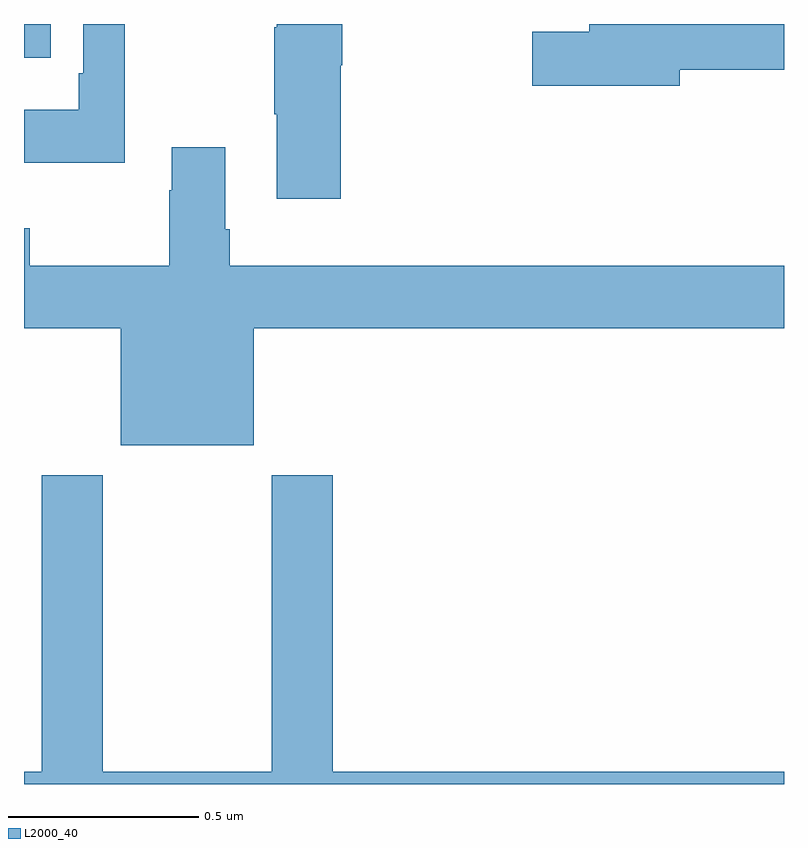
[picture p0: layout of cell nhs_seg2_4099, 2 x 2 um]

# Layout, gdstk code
import gdstk
lib = gdstk.Library(unit=1e-6, precision=1e-09)
def R(c, l, rs):  # rectangles x0, y0, x1, y1
    for r in rs: c.add(gdstk.rectangle(r[:2], r[2:], *l))
def P(c, l, *ps):  # polygons
    for p in ps: c.add(gdstk.Polygon(p, *l))
L2000_40 = (2000, 40)

nhs_seg2_4099 = lib.new_cell('nhs_seg2_4099')
R(nhs_seg2_4099, L2000_40, [(162,617.711,162.071,617.8)])
P(nhs_seg2_4099, L2000_40, [(163.726,617.68),(164,617.68),(164,617.8),(163.487,617.8),(163.487,617.78),(163.338,617.78),(163.338,617.638),(163.726,617.638)],
  [(162.833,617.691),(162.838,617.691),(162.838,617.8),(162.665,617.8),(162.665,617.791),(162.658,617.791),(162.658,617.563),(162.665,617.563),(162.665,617.34),(162.833,617.34)],
  [(162.265,617.8),(162.156,617.8),(162.156,617.671),(162.144,617.671),(162.144,617.575),(162,617.575),(162,617.435),(162.265,617.435)],
  [(162.542,617.26),(162.529,617.26),(162.529,617.476),(162.389,617.476),(162.389,617.363),(162.382,617.363),(162.382,617.164),(162.015,617.164),(162.015,617.263),(162,617.263),(162,617),(162.254,617),(162.254,616.691),(162.604,616.691),(162.604,617),(164,617),(164,617.164),(162.542,617.164)],
  [(164,615.832),(162.812,615.832),(162.812,616.612),(162.652,616.612),(162.652,615.832),(162.207,615.832),(162.207,616.612),(162.047,616.612),(162.047,615.832),(162,615.832),(162,615.8),(164,615.8)])

lib.write_gds('nhs_seg2_4099.gds')
